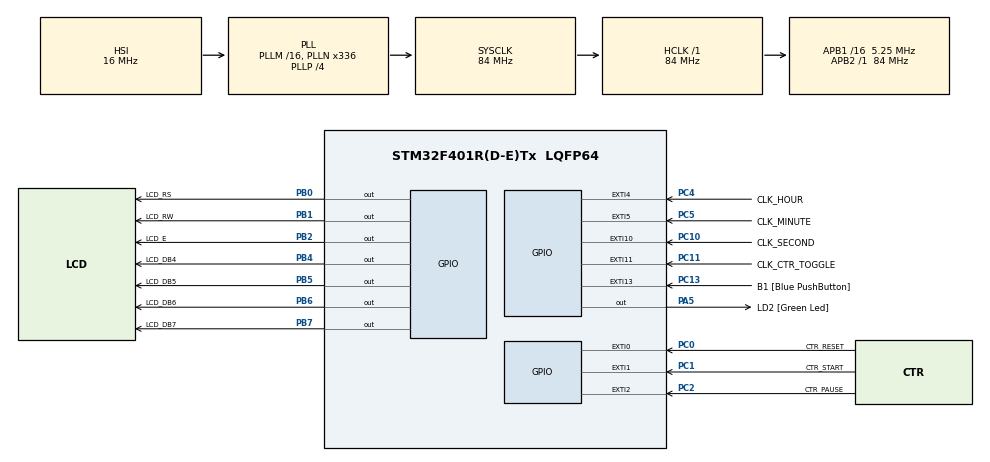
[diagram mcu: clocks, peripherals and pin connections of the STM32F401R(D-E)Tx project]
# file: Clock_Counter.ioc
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FREERTOS.Mutexes01=mutexCtrPlay;mutexCtrGo;mutexState;mutexCtrTime;mutexCtrAppearTime;mutexClkTime;mutexButtonPressed
FREERTOS.Tasks01=taskDefault,-3,128,thread_Default,Default;taskCtrTick,3,128,thread_CtrTick,Default;taskCtrReset,2,128,thread_CtrReset,Default;taskCtrPause,3,128,thread_CtrPause,Default;taskCtrStart,3,128,thread_CtrStart,Default;taskToggle,0,128,thread_Toggle,Default;taskClkTick,3,128,thread_ClkTick,Default;taskClkHour,2,128,thread_ClkHour,Default;taskClkMin,2,128,thread_ClkMin,Default;taskClkSec,2,128,thread_ClkSec,Default;taskUpdateLCD,3,512,thread_UpdateLCD,Default;taskUpdateMsg,3,512,thread_UpdateMsg,Default
Mcu.Family=STM32F4
Mcu.Name=STM32F401R(D-E)Tx
Mcu.Package=LQFP64
Mcu.UserConstants=MINUTE_CONST,60;HOUR_CONST,3600;APPEAR_TIME_LENGTH,13;SIGNAL_WAKE_UP,0x01;STATE_CLOCK,0;STATE_COUNTER,1;DAY_CONST,86400;SIGNAL_USE_BUTTON,0x02
NVIC.EXTI0_IRQn=true\:5\:0\:false\:false\:true\:true
NVIC.EXTI15_10_IRQn=true\:5\:0\:false\:false\:true\:true
NVIC.EXTI1_IRQn=true\:5\:0\:false\:false\:true\:true
NVIC.EXTI2_IRQn=true\:5\:0\:false\:false\:true\:true
NVIC.EXTI4_IRQn=true\:5\:0\:false\:false\:true\:true
NVIC.EXTI9_5_IRQn=true\:5\:0\:false\:false\:true\:true
NVIC.PriorityGroup=NVIC_PRIORITYGROUP_4
NVIC.TIM1_UP_TIM10_IRQn=true\:0\:0\:false\:false\:true\:false
NVIC.TIM2_IRQn=true\:5\:0\:false\:false\:true\:true
NVIC.TIM3_IRQn=true\:5\:0\:false\:false\:true\:true
NVIC.TIM4_IRQn=true\:5\:0\:false\:false\:true\:true
NVIC.TIM5_IRQn=true\:5\:0\:false\:false\:true\:true
NVIC.TimeBase=TIM1_UP_TIM10_IRQn
NVIC.TimeBaseIP=TIM1
PA13.GPIO_Label=TMS
PA13.Signal=SYS_JTMS-SWDIO
PA14.GPIO_Label=TCK
PA14.Signal=SYS_JTCK-SWCLK
PA2.GPIO_Label=USART_TX
PA2.GPIO_Mode=GPIO_MODE_AF_PP
PA2.GPIO_PuPd=GPIO_NOPULL
PA2.GPIO_Speed=GPIO_SPEED_FREQ_LOW
PA2.Signal=USART2_TX
PA3.GPIO_Label=USART_RX
PA3.GPIO_Mode=GPIO_MODE_AF_PP
PA3.GPIO_PuPd=GPIO_NOPULL
PA3.GPIO_Speed=GPIO_SPEED_FREQ_LOW
PA3.Signal=USART2_RX
PA5.GPIO_Label=LD2 [Green Led]
PA5.GPIO_Mode=GPIO_MODE_OUTPUT_PP
PA5.GPIO_PuPd=GPIO_NOPULL
PA5.GPIO_Speed=GPIO_SPEED_FREQ_LOW
PA5.Signal=GPIO_Output
PB0.GPIO_Label=LCD_RS
PB0.Signal=GPIO_Output
PB1.GPIO_Label=LCD_RW
PB1.Signal=GPIO_Output
PB2.GPIO_Label=LCD_E
PB2.Signal=GPIO_Output
PB3.GPIO_Label=SWO
PB3.Signal=SYS_JTDO-SWO
PB4.GPIO_Label=LCD_DB4
PB4.Signal=GPIO_Output
PB5.GPIO_Label=LCD_DB5
PB5.Signal=GPIO_Output
PB6.GPIO_Label=LCD_DB6
PB6.Signal=GPIO_Output
PB7.GPIO_Label=LCD_DB7
PB7.Signal=GPIO_Output
PC0.GPIO_Label=CTR_RESET
PC0.GPIO_PuPd=GPIO_PULLDOWN
PC0.Signal=GPXTI0
PC1.GPIO_Label=CTR_START
PC1.GPIO_PuPd=GPIO_PULLDOWN
PC1.Signal=GPXTI1
PC10.GPIO_Label=CLK_SECOND
PC10.GPIO_ModeDefaultEXTI=GPIO_MODE_IT_RISING
PC10.GPIO_PuPd=GPIO_PULLDOWN
PC10.Signal=GPXTI10
PC11.GPIO_Label=CLK_CTR_TOGGLE
PC11.GPIO_PuPd=GPIO_PULLDOWN
PC11.Signal=GPXTI11
PC13-ANTI_TAMP.GPIO_Label=B1 [Blue PushButton]
PC13-ANTI_TAMP.GPIO_ModeDefaultEXTI=GPIO_MODE_IT_FALLING
PC13-ANTI_TAMP.GPIO_PuPd=GPIO_PULLDOWN
PC13-ANTI_TAMP.Signal=GPXTI13
PC14-OSC32_IN.Signal=RCC_OSC32_IN
PC15-OSC32_OUT.Signal=RCC_OSC32_OUT
PC2.GPIO_Label=CTR_PAUSE
PC2.GPIO_PuPd=GPIO_PULLDOWN
PC2.Signal=GPXTI2
PC4.GPIO_Label=CLK_HOUR
PC4.GPIO_ModeDefaultEXTI=GPIO_MODE_IT_RISING
PC4.GPIO_PuPd=GPIO_PULLDOWN
PC4.Signal=GPXTI4
PC5.GPIO_Label=CLK_MINUTE
PC5.GPIO_ModeDefaultEXTI=GPIO_MODE_IT_RISING
PC5.GPIO_PuPd=GPIO_PULLDOWN
PC5.Signal=GPXTI5
PH0\ -\ OSC_IN.Signal=RCC_OSC_IN
PH1\ -\ OSC_OUT.Signal=RCC_OSC_OUT
ProjectManager.HeapSize=0x200
ProjectManager.StackSize=0x400
ProjectManager.TargetToolchain=TrueSTUDIO
RCC.AHBFreq_Value=84000000
RCC.APB1CLKDivider=RCC_HCLK_DIV16
RCC.APB1Freq_Value=5250000
RCC.APB1TimFreq_Value=10500000
RCC.APB2Freq_Value=84000000
RCC.APB2TimFreq_Value=84000000
RCC.CortexFreq_Value=84000000
RCC.HCLKFreq_Value=84000000
RCC.HSE_VALUE=8000000
RCC.HSI_VALUE=16000000
RCC.LSE_VALUE=32768
RCC.PLLN=336
RCC.PLLP=RCC_PLLP_DIV4
RCC.PLLQ=7
RCC.SYSCLKFreq_VALUE=84000000
RCC.SYSCLKSource=RCC_SYSCLKSOURCE_PLLCLK
RCC.VCOOutputFreq_Value=336000000
TIM2.Period=1
TIM2.Prescaler=5250
TIM3.Period=249
TIM3.Prescaler=42000
TIM4.Period=249
TIM4.Prescaler=42
TIM5.Period=149
TIM5.Prescaler=5250
VP_FREERTOS_VS_ENABLE.Mode=Enabled
VP_SYS_VS_tim1.Mode=TIM1
VP_TIM2_VS_ClockSourceINT.Mode=Internal
VP_TIM3_VS_ClockSourceINT.Mode=Internal
VP_TIM4_VS_ClockSourceINT.Mode=Internal
VP_TIM5_VS_ClockSourceINT.Mode=Internal
board=NUCLEO-F401RE

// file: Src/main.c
/**
  ******************************************************************************
  * File Name          : main.c
  * Description        : Main program body
  ******************************************************************************
  *
  * COPYRIGHT(c) 2016 STMicroelectronics
  *
  * Redistribution and use in source and binary forms, with or without modification,
  * are permitted provided that the following conditions are met:
  *   1. Redistributions of source code must retain the above copyright notice,
  *      this list of conditions and the following disclaimer.
  *   2. Redistributions in binary form must reproduce the above copyright notice,
  *      this list of conditions and the following disclaimer in the documentation
  *      and/or other materials provided with the distribution.
  *   3. Neither the name of STMicroelectronics nor the names of its contributors
  *      may be used to endorse or promote products derived from this software
  *      without specific prior written permission.
  *
  * THIS SOFTWARE IS PROVIDED BY THE COPYRIGHT HOLDERS AND CONTRIBUTORS "AS IS"
  * AND ANY EXPRESS OR IMPLIED WARRANTIES, INCLUDING, BUT NOT LIMITED TO, THE
  * IMPLIED WARRANTIES OF MERCHANTABILITY AND FITNESS FOR A PARTICULAR PURPOSE ARE
  * DISCLAIMED. IN NO EVENT SHALL THE COPYRIGHT HOLDER OR CONTRIBUTORS BE LIABLE
  * FOR ANY DIRECT, INDIRECT, INCIDENTAL, SPECIAL, EXEMPLARY, OR CONSEQUENTIAL
  * DAMAGES (INCLUDING, BUT NOT LIMITED TO, PROCUREMENT OF SUBSTITUTE GOODS OR
  * SERVICES; LOSS OF USE, DATA, OR PROFITS; OR BUSINESS INTERRUPTION) HOWEVER
  * CAUSED AND ON ANY THEORY OF LIABILITY, WHETHER IN CONTRACT, STRICT LIABILITY,
  * OR TORT (INCLUDING NEGLIGENCE OR OTHERWISE) ARISING IN ANY WAY OUT OF THE USE
  * OF THIS SOFTWARE, EVEN IF ADVISED OF THE POSSIBILITY OF SUCH DAMAGE.
  *
  ******************************************************************************
  */
#include "stm32f4xx_hal.h"
#include "cmsis_os.h"
#include "tim.h"
#include "gpio.h"

/* USER CODE BEGIN Includes */
  /* NOTE 1
   * Timers initialization in freertos.c > MX_FREERTOS_Init()
   *
   * HAL_TIM_Base_Start_IT(&htim2);
   * HAL_TIM_Base_Start_IT(&htim3);
   * HAL_TIM_Base_Start_IT(&htim4);
   * HAL_TIM_Base_Start_IT(&htim5);
   *
   * NOTE 2
   * Any task that is added, should be also declared with extern keyword
   * in private variables section.
   */
#include "HD44780.h"
/* USER CODE END Includes */

/* USER CODE BEGIN PV */
/* Private variables ---------------------------------------------------------*/
extern osThreadId taskDefaultHandle;
extern osThreadId taskCtrTickHandle;
extern osThreadId taskCtrResetHandle;
extern osThreadId taskCtrPauseHandle;
extern osThreadId taskCtrStartHandle;
extern osThreadId taskToggleHandle;
extern osThreadId taskClkTickHandle;
extern osThreadId taskClkHourHandle;
extern osThreadId taskClkMinHandle;
extern osThreadId taskClkSecHandle;
extern osThreadId taskUpdateLCDHandle;
extern osThreadId taskUpdateMsgHandle;

osThreadId selectedTask;
/* USER CODE END PV */

void SystemClock_Config(void);
void Error_Handler(void);
void MX_FREERTOS_Init(void);

/* USER CODE BEGIN PFP */
/* Private function prototypes -----------------------------------------------*/
/* USER CODE END PFP */

int main(void)
{

  /* MCU Configuration----------------------------------------------------------*/

  /* Reset of all peripherals, Initializes the Flash interface and the Systick. */
  HAL_Init();

  /* Configure the system clock */
  SystemClock_Config();

  /* Initialize all configured peripherals */
  MX_GPIO_Init();
  MX_TIM2_Init();
  MX_TIM3_Init();
  MX_TIM4_Init();
  MX_TIM5_Init();

  /* USER CODE BEGIN 2 */
  LCD_ConfigurePort(GPIOB,
		  	  	  	GPIO_PIN_0,	GPIO_PIN_1,	GPIO_PIN_2,
					0, 0, 0, 0,
					GPIO_PIN_4,	GPIO_PIN_5, GPIO_PIN_6,	GPIO_PIN_7
					);
  LCD_Initalize(BUS_WIDTH_4, DISPLAY_LINES_2, FONT_5x8);
  LCD_CursorBlink(0x0);
  LCD_CursorOn(0x0);
  /* USER CODE END 2 */

  /* Call init function for freertos objects (in freertos.c) */
  MX_FREERTOS_Init();

  /* Start scheduler */
  osKernelStart();

  /* We should never get here as control is now taken by the scheduler */

  /* Infinite loop */
  /* USER CODE BEGIN WHILE */
  while (1)
  {
	  Error_Handler();
  }
  /* USER CODE END WHILE */

}

/** System Clock Configuration
*/
void SystemClock_Config(void)
{

  RCC_OscInitTypeDef RCC_OscInitStruct;
  RCC_ClkInitTypeDef RCC_ClkInitStruct;

  __HAL_RCC_PWR_CLK_ENABLE();

  __HAL_PWR_VOLTAGESCALING_CONFIG(PWR_REGULATOR_VOLTAGE_SCALE2);

  RCC_OscInitStruct.OscillatorType = RCC_OSCILLATORTYPE_HSI;
  RCC_OscInitStruct.HSIState = RCC_HSI_ON;
  RCC_OscInitStruct.HSICalibrationValue = 16;
  RCC_OscInitStruct.PLL.PLLState = RCC_PLL_ON;
  RCC_OscInitStruct.PLL.PLLSource = RCC_PLLSOURCE_HSI;
  RCC_OscInitStruct.PLL.PLLM = 16;
  RCC_OscInitStruct.PLL.PLLN = 336;
  RCC_OscInitStruct.PLL.PLLP = RCC_PLLP_DIV4;
  RCC_OscInitStruct.PLL.PLLQ = 7;
  if (HAL_RCC_OscConfig(&RCC_OscInitStruct) != HAL_OK)
  {
    Error_Handler();
  }

  RCC_ClkInitStruct.ClockType = RCC_CLOCKTYPE_HCLK|RCC_CLOCKTYPE_SYSCLK
                              |RCC_CLOCKTYPE_PCLK1|RCC_CLOCKTYPE_PCLK2;
  RCC_ClkInitStruct.SYSCLKSource = RCC_SYSCLKSOURCE_PLLCLK;
  RCC_ClkInitStruct.AHBCLKDivider = RCC_SYSCLK_DIV1;
  RCC_ClkInitStruct.APB1CLKDivider = RCC_HCLK_DIV16;
  RCC_ClkInitStruct.APB2CLKDivider = RCC_HCLK_DIV1;
  if (HAL_RCC_ClockConfig(&RCC_ClkInitStruct, FLASH_LATENCY_2) != HAL_OK)
  {
    Error_Handler();
  }

  HAL_SYSTICK_Config(HAL_RCC_GetHCLKFreq()/1000);

  HAL_SYSTICK_CLKSourceConfig(SYSTICK_CLKSOURCE_HCLK);

  /* SysTick_IRQn interrupt configuration */
  HAL_NVIC_SetPriority(SysTick_IRQn, 15, 0);
}

/* USER CODE BEGIN 4 */
void HAL_GPIO_EXTI_Callback(uint16_t GPIO_Pin) {

	switch (GPIO_Pin) {

	case CTR_RESET_Pin:
		selectedTask = taskCtrResetHandle;
		break;

	case CTR_START_Pin:
		selectedTask = taskCtrStartHandle;
		break;

	case CTR_PAUSE_Pin:
		selectedTask = taskCtrPauseHandle;
		break;

	case CLK_CTR_TOGGLE_Pin:
		selectedTask = taskToggleHandle;
		break;

	case CLK_HOUR_Pin:
		selectedTask = taskClkHourHandle;
		break;

	case CLK_MINUTE_Pin:
		selectedTask = taskClkMinHandle;
		break;

	case CLK_SECOND_Pin:
		selectedTask = taskClkSecHandle;
		break;

	case B1_Pin:
		osSignalSet(selectedTask,SIGNAL_WAKE_UP);
		break;

	default:
		break;
	}
}
/* USER CODE END 4 */

void HAL_TIM_PeriodElapsedCallback(TIM_HandleTypeDef *htim)
{
/* USER CODE BEGIN Callback 0 */
	if (htim->Instance == TIM2) {
		osSignalSet(taskUpdateLCDHandle,SIGNAL_WAKE_UP);
	}
	if (htim->Instance == TIM3) {
		osSignalSet(taskClkTickHandle,SIGNAL_WAKE_UP);
	}
	if (htim->Instance == TIM4) {
		osSignalSet(taskCtrTickHandle,SIGNAL_WAKE_UP);
	}
	if (htim->Instance == TIM5) {
		osSignalSet(taskUpdateMsgHandle,SIGNAL_WAKE_UP);
	}
/* USER CODE END Callback 0 */
  if (htim->Instance == TIM1) {
    HAL_IncTick();
  }
}

void Error_Handler(void)
{
  /* USER CODE BEGIN Error_Handler */
  /* User can add his own implementation to report the HAL error return state */
  while(1)
  {
	  // toggle led to indicate failure
	  HAL_GPIO_TogglePin(LD2_GPIO_Port,LD2_Pin);
	  HAL_Delay(100);
	  HAL_GPIO_TogglePin(LD2_GPIO_Port,LD2_Pin);
	  HAL_Delay(100);
	  HAL_GPIO_TogglePin(LD2_GPIO_Port,LD2_Pin);
	  HAL_Delay(100);
	  HAL_GPIO_TogglePin(LD2_GPIO_Port,LD2_Pin);
	  HAL_Delay(1000);
  }
  /* USER CODE END Error_Handler */
}

/************************ (C) COPYRIGHT STMicroelectronics *****END OF FILE****/

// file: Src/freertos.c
/**
  ******************************************************************************
  * File Name          : freertos.c
  * Description        : Code for freertos applications
  ******************************************************************************
  *
  * COPYRIGHT(c) 2016 STMicroelectronics
  *
  * Redistribution and use in source and binary forms, with or without modification,
  * are permitted provided that the following conditions are met:
  *   1. Redistributions of source code must retain the above copyright notice,
  *      this list of conditions and the following disclaimer.
  *   2. Redistributions in binary form must reproduce the above copyright notice,
  *      this list of conditions and the following disclaimer in the documentation
  *      and/or other materials provided with the distribution.
  *   3. Neither the name of STMicroelectronics nor the names of its contributors
  *      may be used to endorse or promote products derived from this software
  *      without specific prior written permission.
  *
  * THIS SOFTWARE IS PROVIDED BY THE COPYRIGHT HOLDERS AND CONTRIBUTORS "AS IS"
  * AND ANY EXPRESS OR IMPLIED WARRANTIES, INCLUDING, BUT NOT LIMITED TO, THE
  * IMPLIED WARRANTIES OF MERCHANTABILITY AND FITNESS FOR A PARTICULAR PURPOSE ARE
  * DISCLAIMED. IN NO EVENT SHALL THE COPYRIGHT HOLDER OR CONTRIBUTORS BE LIABLE
  * FOR ANY DIRECT, INDIRECT, INCIDENTAL, SPECIAL, EXEMPLARY, OR CONSEQUENTIAL
  * DAMAGES (INCLUDING, BUT NOT LIMITED TO, PROCUREMENT OF SUBSTITUTE GOODS OR
  * SERVICES; LOSS OF USE, DATA, OR PROFITS; OR BUSINESS INTERRUPTION) HOWEVER
  * CAUSED AND ON ANY THEORY OF LIABILITY, WHETHER IN CONTRACT, STRICT LIABILITY,
  * OR TORT (INCLUDING NEGLIGENCE OR OTHERWISE) ARISING IN ANY WAY OUT OF THE USE
  * OF THIS SOFTWARE, EVEN IF ADVISED OF THE POSSIBILITY OF SUCH DAMAGE.
  *
  ******************************************************************************
  */

#include "FreeRTOS.h"
#include "task.h"
#include "cmsis_os.h"

/* USER CODE BEGIN Includes */
#include "HD44780.h"
#include <inttypes.h>

#define SET(a)    (a = 1)
#define RESET(a)  (a = 0)
#define TOGGLE(a) (a = (a == 1 ? 0 : 1))
#define IS_SET(a) (a != 0)
#define WAIT_FOR_MUTEX(mutex_id, wait_time) \
	do { \
		if (mutex_id == NULL) { \
			Error_Handler(); \
		} \
		if (osMutexWait(mutex_id, wait_time) != osOK) { \
			Error_Handler(); \
		} \
	} while(0)
#define WAIT_FOR_WAKE_UP(evt) \
	do { \
		evt = osSignalWait(SIGNAL_WAKE_UP,osWaitForever); \
		if (evt.status != osEventSignal) { \
			Error_Handler(); \
		} \
	} while (0) \
/* USER CODE END Includes */

osThreadId taskDefaultHandle;
osThreadId taskCtrTickHandle;
osThreadId taskCtrResetHandle;
osThreadId taskCtrPauseHandle;
osThreadId taskCtrStartHandle;
osThreadId taskToggleHandle;
osThreadId taskClkTickHandle;
osThreadId taskClkHourHandle;
osThreadId taskClkMinHandle;
osThreadId taskClkSecHandle;
osThreadId taskUpdateLCDHandle;
osThreadId taskUpdateMsgHandle;
osMutexId mutexCtrPlayHandle;
osMutexId mutexCtrGoHandle;
osMutexId mutexStateHandle;
osMutexId mutexCtrTimeHandle;
osMutexId mutexCtrAppearTimeHandle;
osMutexId mutexClkTimeHandle;
osMutexId mutexButtonPressedHandle;

/* USER CODE BEGIN Variables */
char appear_time[APPEAR_TIME_LENGTH];

uint32_t counter_go          = 0;
uint32_t counter_play        = 1;
uint32_t state               = STATE_CLOCK;
uint32_t counter_time        = 0;
uint32_t counter_appear_time = 0;

uint32_t clock_time          = 0;

extern TIM_HandleTypeDef htim2;
extern TIM_HandleTypeDef htim3;
extern TIM_HandleTypeDef htim4;
extern TIM_HandleTypeDef htim5;

extern osThreadId selectedTask;

/* USER CODE END Variables */

void thread_Default(void const * argument);
void thread_CtrTick(void const * argument);
void thread_CtrReset(void const * argument);
void thread_CtrPause(void const * argument);
void thread_CtrStart(void const * argument);
void thread_Toggle(void const * argument);
void thread_ClkTick(void const * argument);
void thread_ClkHour(void const * argument);
void thread_ClkMin(void const * argument);
void thread_ClkSec(void const * argument);
void thread_UpdateLCD(void const * argument);
void thread_UpdateMsg(void const * argument);

void MX_FREERTOS_Init(void); /* (MISRA C 2004 rule 8.1) */

/* USER CODE BEGIN FunctionPrototypes */
extern void Error_Handler(void);
/* USER CODE END FunctionPrototypes */

/* Hook prototypes */

/* Init FreeRTOS */

void MX_FREERTOS_Init(void) {

  /* Create the mutex(es) */
  /* definition and creation of mutexCtrPlay */
  osMutexDef(mutexCtrPlay);
  mutexCtrPlayHandle = osMutexCreate(osMutex(mutexCtrPlay));

  /* definition and creation of mutexCtrGo */
  osMutexDef(mutexCtrGo);
  mutexCtrGoHandle = osMutexCreate(osMutex(mutexCtrGo));

  /* definition and creation of mutexState */
  osMutexDef(mutexState);
  mutexStateHandle = osMutexCreate(osMutex(mutexState));

  /* definition and creation of mutexCtrTime */
  osMutexDef(mutexCtrTime);
  mutexCtrTimeHandle = osMutexCreate(osMutex(mutexCtrTime));

  /* definition and creation of mutexCtrAppearTime */
  osMutexDef(mutexCtrAppearTime);
  mutexCtrAppearTimeHandle = osMutexCreate(osMutex(mutexCtrAppearTime));

  /* definition and creation of mutexClkTime */
  osMutexDef(mutexClkTime);
  mutexClkTimeHandle = osMutexCreate(osMutex(mutexClkTime));

  /* definition and creation of mutexButtonPressed */
  osMutexDef(mutexButtonPressed);
  mutexButtonPressedHandle = osMutexCreate(osMutex(mutexButtonPressed));

  /* Create the thread(s) */
  /* definition and creation of taskDefault */
  osThreadDef(taskDefault, thread_Default, osPriorityIdle, 0, 128);
  taskDefaultHandle = osThreadCreate(osThread(taskDefault), NULL);

  /* definition and creation of taskCtrTick */
  osThreadDef(taskCtrTick, thread_CtrTick, osPriorityRealtime, 0, 128);
  taskCtrTickHandle = osThreadCreate(osThread(taskCtrTick), NULL);

  /* definition and creation of taskCtrReset */
  osThreadDef(taskCtrReset, thread_CtrReset, osPriorityHigh, 0, 128);
  taskCtrResetHandle = osThreadCreate(osThread(taskCtrReset), NULL);

  /* definition and creation of taskCtrPause */
  osThreadDef(taskCtrPause, thread_CtrPause, osPriorityRealtime, 0, 128);
  taskCtrPauseHandle = osThreadCreate(osThread(taskCtrPause), NULL);

  /* definition and creation of taskCtrStart */
  osThreadDef(taskCtrStart, thread_CtrStart, osPriorityRealtime, 0, 128);
  taskCtrStartHandle = osThreadCreate(osThread(taskCtrStart), NULL);

  /* definition and creation of taskToggle */
  osThreadDef(taskToggle, thread_Toggle, osPriorityNormal, 0, 128);
  taskToggleHandle = osThreadCreate(osThread(taskToggle), NULL);

  /* definition and creation of taskClkTick */
  osThreadDef(taskClkTick, thread_ClkTick, osPriorityRealtime, 0, 128);
  taskClkTickHandle = osThreadCreate(osThread(taskClkTick), NULL);

  /* definition and creation of taskClkHour */
  osThreadDef(taskClkHour, thread_ClkHour, osPriorityHigh, 0, 128);
  taskClkHourHandle = osThreadCreate(osThread(taskClkHour), NULL);

  /* definition and creation of taskClkMin */
  osThreadDef(taskClkMin, thread_ClkMin, osPriorityHigh, 0, 128);
  taskClkMinHandle = osThreadCreate(osThread(taskClkMin), NULL);

  /* definition and creation of taskClkSec */
  osThreadDef(taskClkSec, thread_ClkSec, osPriorityHigh, 0, 128);
  taskClkSecHandle = osThreadCreate(osThread(taskClkSec), NULL);

  /* definition and creation of taskUpdateLCD */
  osThreadDef(taskUpdateLCD, thread_UpdateLCD, osPriorityRealtime, 0, 512);
  taskUpdateLCDHandle = osThreadCreate(osThread(taskUpdateLCD), NULL);

  /* definition and creation of taskUpdateMsg */
  osThreadDef(taskUpdateMsg, thread_UpdateMsg, osPriorityRealtime, 0, 512);
  taskUpdateMsgHandle = osThreadCreate(osThread(taskUpdateMsg), NULL);

  /* USER CODE BEGIN RTOS_QUEUES */

  // Init commands - should be placed after thread initialization.
  HAL_TIM_Base_Start_IT(&htim2);
  HAL_TIM_Base_Start_IT(&htim3);
  HAL_TIM_Base_Start_IT(&htim4);
  HAL_TIM_Base_Start_IT(&htim5);

  selectedTask = taskToggleHandle;
  /* USER CODE END RTOS_QUEUES */
}

/* thread_Default function */
void thread_Default(void const * argument)
{

  for(;;)
  {
    osDelay(1);
  }
}

/* thread_CtrTick function */
void thread_CtrTick(void const * argument)
{
  /* USER CODE BEGIN thread_CtrTick */
  /* Infinite loop */
	osEvent evt;
	while(1)
	{
		// wait for wake up call
		WAIT_FOR_WAKE_UP(evt);

		// check if counter_time should be incremented
		WAIT_FOR_MUTEX(mutexCtrGoHandle,osWaitForever);
		if( IS_SET(counter_go) )
		{
			osMutexRelease(mutexCtrGoHandle);

			// increment counter go
			WAIT_FOR_MUTEX(mutexCtrTimeHandle,osWaitForever);
			counter_time = counter_time + 1;
			osMutexRelease(mutexCtrTimeHandle);
		}
		else
		{
			osMutexRelease(mutexCtrGoHandle);
		}

		// check if counter_appear_time should be updated
		WAIT_FOR_MUTEX(mutexCtrPlayHandle,osWaitForever);
		if ( IS_SET(counter_play) )
		{
			osMutexRelease(mutexCtrPlayHandle);

			// update counter appear time
			WAIT_FOR_MUTEX(mutexCtrAppearTimeHandle,osWaitForever);
			WAIT_FOR_MUTEX(mutexCtrTimeHandle,osWaitForever);

			counter_appear_time = counter_time;

			osMutexRelease(mutexCtrTimeHandle);
			osMutexRelease(mutexCtrAppearTimeHandle);
		}
		else
		{
			osMutexRelease(mutexCtrPlayHandle);
		}
	}
  /* USER CODE END thread_CtrTick */
}

/* thread_CtrReset function */
void thread_CtrReset(void const * argument)
{
  /* USER CODE BEGIN thread_CtrReset */
	osEvent evt;
	while(1)
	{
		// wait for wake up call
		WAIT_FOR_WAKE_UP(evt);

		// clear counter go
		WAIT_FOR_MUTEX(mutexCtrGoHandle,osWaitForever);
		RESET(counter_go);
		osMutexRelease(mutexCtrGoHandle);

		// clear counter play
		WAIT_FOR_MUTEX(mutexCtrPlayHandle,osWaitForever);
		RESET(counter_play);
		osMutexRelease(mutexCtrPlayHandle);

		// clear counter time
		WAIT_FOR_MUTEX(mutexCtrTimeHandle,osWaitForever);
		RESET(counter_time);
		osMutexRelease(mutexCtrTimeHandle);

		// clear counter appear time
		WAIT_FOR_MUTEX(mutexCtrAppearTimeHandle,osWaitForever);
		counter_appear_time = 0;
		osMutexRelease(mutexCtrAppearTimeHandle);
	}
  /* USER CODE END thread_CtrReset */
}

/* thread_CtrPause function */
void thread_CtrPause(void const * argument)
{
  /* USER CODE BEGIN thread_CtrPause */
	osEvent evt;
	while(1)
	{
		// wait for wake up call
		WAIT_FOR_WAKE_UP(evt);

		// toggle counter play
		WAIT_FOR_MUTEX(mutexCtrPlayHandle,osWaitForever);
		TOGGLE(counter_play);
		osMutexRelease(mutexCtrPlayHandle);
	}
  /* USER CODE END thread_CtrPause */
}

/* thread_CtrStart function */
void thread_CtrStart(void const * argument)
{
  /* USER CODE BEGIN thread_CtrStart */
	osEvent evt;
	while(1)
	{
		// wait for wake up call
		WAIT_FOR_WAKE_UP(evt);

		WAIT_FOR_MUTEX(mutexCtrTimeHandle,osWaitForever);

		if ( counter_time != 0 )
		{
			osMutexRelease(mutexCtrTimeHandle);

			// we already have counted
			WAIT_FOR_MUTEX(mutexCtrGoHandle,osWaitForever);

				if ( IS_SET(counter_go) )
				{
					// stop counting
					RESET(counter_go);
					osMutexRelease(mutexCtrGoHandle);

					// set counter play
					WAIT_FOR_MUTEX(mutexCtrPlayHandle,osWaitForever);
					SET(counter_play);
					osMutexRelease(mutexCtrPlayHandle);
				}
				else
				{
					// continue counting
					SET(counter_go);
					osMutexRelease(mutexCtrGoHandle);

					// set counter play
					WAIT_FOR_MUTEX(mutexCtrPlayHandle,osWaitForever);
					SET(counter_play);
					osMutexRelease(mutexCtrPlayHandle);
				}
		}
		else
		{
			osMutexRelease(mutexCtrTimeHandle);

			// we are in starting from zero mode

			// set counter go
			WAIT_FOR_MUTEX(mutexCtrGoHandle,osWaitForever);
			SET(counter_go);
			osMutexRelease(mutexCtrGoHandle);

			// set counter play
			WAIT_FOR_MUTEX(mutexCtrPlayHandle,osWaitForever);
			SET(counter_play);
			osMutexRelease(mutexCtrPlayHandle);
		}

	}
  /* USER CODE END thread_CtrStart */
}

/* thread_Toggle function */
void thread_Toggle(void const * argument)
{
  /* USER CODE BEGIN thread_Toggle */
	osEvent evt;
	while(1)
	{
		// wait for wake up call
		WAIT_FOR_WAKE_UP(evt);

		// increment time count
		WAIT_FOR_MUTEX(mutexStateHandle,osWaitForever);
		TOGGLE(state);
		osMutexRelease(mutexStateHandle);

	}
  /* USER CODE END thread_Toggle */
}

/* thread_ClkTick function */
void thread_ClkTick(void const * argument)
{
  /* USER CODE BEGIN thread_ClkTick */
	osEvent evt;
	while(1)
	{
		// wait for wake up call
		WAIT_FOR_WAKE_UP(evt);

		// increment time count
		WAIT_FOR_MUTEX(mutexClkTimeHandle,osWaitForever);
		clock_time = (clock_time + 1) % DAY_CONST;
		osMutexRelease(mutexClkTimeHandle);

	}
  /* USER CODE END thread_ClkTick */
}

/* thread_ClkHour function */
void thread_ClkHour(void const * argument)
{
  /* USER CODE BEGIN thread_ClkHour */
	osEvent evt;
	while(1)
	{
		// wait for wake up call
		WAIT_FOR_WAKE_UP(evt);

		// increment hour count
		WAIT_FOR_MUTEX(mutexClkTimeHandle,osWaitForever);
		clock_time = (clock_time + HOUR_CONST) % DAY_CONST;
		osMutexRelease(mutexClkTimeHandle);
	}
  /* USER CODE END thread_ClkHour */
}

/* thread_ClkMin function */
void thread_ClkMin(void const * argument)
{
  /* USER CODE BEGIN thread_ClkMin */
	osEvent evt;
	while(1)
	{
		// wait for wake up call
		WAIT_FOR_WAKE_UP(evt);

		// increment minute count
		WAIT_FOR_MUTEX(mutexClkTimeHandle,osWaitForever);
		clock_time = (clock_time + MINUTE_CONST) % DAY_CONST;
		osMutexRelease(mutexClkTimeHandle);
	}
  /* USER CODE END thread_ClkMin */
}

/* thread_ClkSec function */
void thread_ClkSec(void const * argument)
{
  /* USER CODE BEGIN thread_ClkSec */
	osEvent evt;
	while(1)
	{
		// wait for wake up call
		WAIT_FOR_WAKE_UP(evt);

		// set seconds to zero
		WAIT_FOR_MUTEX(mutexClkTimeHandle,osWaitForever);
		clock_time = clock_time - (clock_time % MINUTE_CONST);
		osMutexRelease(mutexClkTimeHandle);
	}
  /* USER CODE END thread_ClkSec */
}

/* thread_UpdateLCD function */
void thread_UpdateLCD(void const * argument)
{
  /* USER CODE BEGIN thread_UpdateLCD */
	osEvent evt;
	while (1)
	{
		// wait for wake up call
		WAIT_FOR_WAKE_UP(evt);

		// put the LCD to work
		LCD_ClockTick();
	}
  /* USER CODE END thread_UpdateLCD */
}

/* thread_UpdateMsg function */
void thread_UpdateMsg(void const * argument)
{
  /* USER CODE BEGIN thread_UpdateMsg */
	osEvent evt;

	uint32_t mil = 0;
	uint32_t sec = 0;
	uint32_t min = 0;
	uint32_t hr  = 0;
	uint32_t tmp = 0;

	while(1)
	{
		// wait for wake up call
		WAIT_FOR_WAKE_UP(evt);

		// initialize variables
		mil = 0;
		sec = 0;
		min = 0;
		hr  = 0;
		tmp = 0;

		// increment time count
		WAIT_FOR_MUTEX(mutexStateHandle,osWaitForever);

		switch (state) {

		case STATE_CLOCK:
			osMutexRelease(mutexStateHandle);

			WAIT_FOR_MUTEX(mutexClkTimeHandle,osWaitForever);
			tmp = clock_time;
			osMutexRelease(mutexClkTimeHandle);

			// get seconds
			sec = tmp % 60;

			// get minutes
			tmp = tmp - sec;
			min = (tmp / MINUTE_CONST) % 60;

			// get hours
			tmp = tmp - (min * 60);
			hr = (tmp / HOUR_CONST) % 24;

			if (hr < 10) {
				appear_time[0] = '0';

			}
			else if (hr < 20) {
				appear_time[0] = '1';
				hr = hr - 10;
			}
			else {
				appear_time[0] = '2';
				hr = hr - 20;
			}

			// next we get the ascii value
			appear_time[1] = hr + 48;
			appear_time[2] = ':';

			if (min < 10) {
				appear_time[3] = '0';
			}
			else if (min < 20) {
				appear_time[3] = '1';
				min = min - 10;
			}
			else if (min < 30) {
				appear_time[3] = '2';
				min = min - 20;
			}
			else if (min < 40) {
				appear_time[3] = '3';
				min = min - 30;
			}
			else if (min < 50) {
				appear_time[3] = '4';
				min = min - 40;
			}
			else {
				appear_time[3] = '5';
				min = min - 50;
			}
			appear_time[4] = min + 48;
			appear_time[5] = ':';

			if (sec < 10) {
				appear_time[6] = '0';
			}
			else if (sec < 20) {
				appear_time[6] = '1';
				sec = sec - 10;
			}
			else if (sec < 30) {
				appear_time[6] = '2';
				sec = sec - 20;
			}
			else if (sec < 40) {
				appear_time[6] = '3';
				sec = sec - 30;
			}
			else if (sec < 50) {
				appear_time[6] = '4';
				sec = sec - 40;
			}
			else {
				appear_time[6] = '5';
				sec = sec - 50;
			}
			appear_time[7]  = sec + 48;
			appear_time[8]  = ' ';
			appear_time[9]  = ' ';
			appear_time[10] = ' ';
			appear_time[11] = ' ';
			appear_time[12] = '\0';

			break;

		case STATE_COUNTER:
			osMutexRelease(mutexStateHandle);

			WAIT_FOR_MUTEX(mutexCtrAppearTimeHandle,osWaitForever);
			tmp = counter_appear_time;
			osMutexRelease(mutexCtrAppearTimeHandle);

			// get milliseconds
			mil = tmp % 1000;

			// get seconds
			tmp = tmp - mil;
			sec = (tmp/1000) % 60;

			// get minutes
			tmp = tmp - sec * 1000;
			min = (tmp / MINUTE_CONST / 1000) % 60;

			// get hours
			tmp = tmp - (min * 60 * 1000);
			hr = (tmp / HOUR_CONST / 1000) % 24;

			if (hr < 10) {
				appear_time[0] = '0';

			}
			else if (hr < 20) {
				appear_time[0] = '1';
				hr = hr - 10;
			}
			else {
				appear_time[0] = '2';
				hr = hr - 20;
			}

			// next we get the ascii value
			appear_time[1] = hr + 48;
			appear_time[2] = ':';

			if (min < 10) {
				appear_time[3] = '0';
			}
			else if (min < 20) {
				appear_time[3] = '1';
				min = min - 10;
			}
			else if (min < 30) {
				appear_time[3] = '2';
				min = min - 20;
			}
			else if (min < 40) {
				appear_time[3] = '3';
				min = min - 30;
			}
			else if (min < 50) {
				appear_time[3] = '4';
				min = min - 40;
			}
			else {
				appear_time[3] = '5';
				min = min - 50;
			}
			appear_time[4] = min + 48;
			appear_time[5] = ':';

			if (sec < 10) {
				appear_time[6] = '0';
			}
			else if (sec < 20) {
				appear_time[6] = '1';
				sec = sec - 10;
			}
			else if (sec < 30) {
				appear_time[6] = '2';
				sec = sec - 20;
			}
			else if (sec < 40) {
				appear_time[6] = '3';
				sec = sec - 30;
			}
			else if (sec < 50) {
				appear_time[6] = '4';
				sec = sec - 40;
			}
			else {
				appear_time[6] = '5';
				sec = sec - 50;
			}
			appear_time[7] = sec + 48;
			appear_time[8] = '.';

			if (mil < 100) {
				appear_time[9] = '0';
			}
			else if (mil < 200) {
				appear_time[9] = '1';
				mil = mil - 100;
			}
			else if (mil < 300) {
				appear_time[9] = '2';
				mil = mil - 200;
			}
			else if (mil < 400) {
				appear_time[9] = '3';
				mil = mil - 300;
			}
			else if (mil < 500) {
				appear_time[9] = '4';
				mil = mil - 400;
			}
			else if (mil < 600) {
				appear_time[9] = '5';
				mil = mil - 500;
			}
			else if (mil < 700) {
				appear_time[9] = '6';
				mil = mil - 600;
			}
			else if (mil < 800) {
				appear_time[9] = '7';
				mil = mil - 700;
			}
			else if (mil < 900) {
				appear_time[9] = '8';
				mil = mil - 800;
			}
			else {
				appear_time[9] = '9';
				mil = mil - 900;
			}

			if (mil < 10) {
				appear_time[10] = '0';
			}
			else if (mil < 20) {
				appear_time[10] = '1';
				mil = mil - 10;
			}
			else if (mil < 30) {
				appear_time[10] = '2';
				mil = mil - 20;
			}
			else if (mil < 40) {
				appear_time[10] = '3';
				mil = mil - 30;
			}
			else if (mil < 50) {
				appear_time[10] = '4';
				mil = mil - 40;
			}
			else if (mil < 60) {
				appear_time[10] = '5';
				mil = mil - 50;
			}
			else if (mil < 70) {
				appear_time[10] = '6';
				mil = mil - 60;
			}
			else if (mil < 80) {
				appear_time[10] = '7';
				mil = mil - 70;
			}
			else if (mil < 90) {
				appear_time[10] = '8';
				mil = mil - 80;
			}
			else {
				appear_time[10] = '9';
				mil = mil - 90;
			}

			appear_time[11] = mil + 48;
			appear_time[12] = '\0';

			break;
		}

		// update LCD
		LCD_MoveToPosition(0x0);
		LCD_Print(appear_time);
	}
  /* USER CODE END thread_UpdateMsg */
}

/************************ (C) COPYRIGHT STMicroelectronics *****END OF FILE****/
